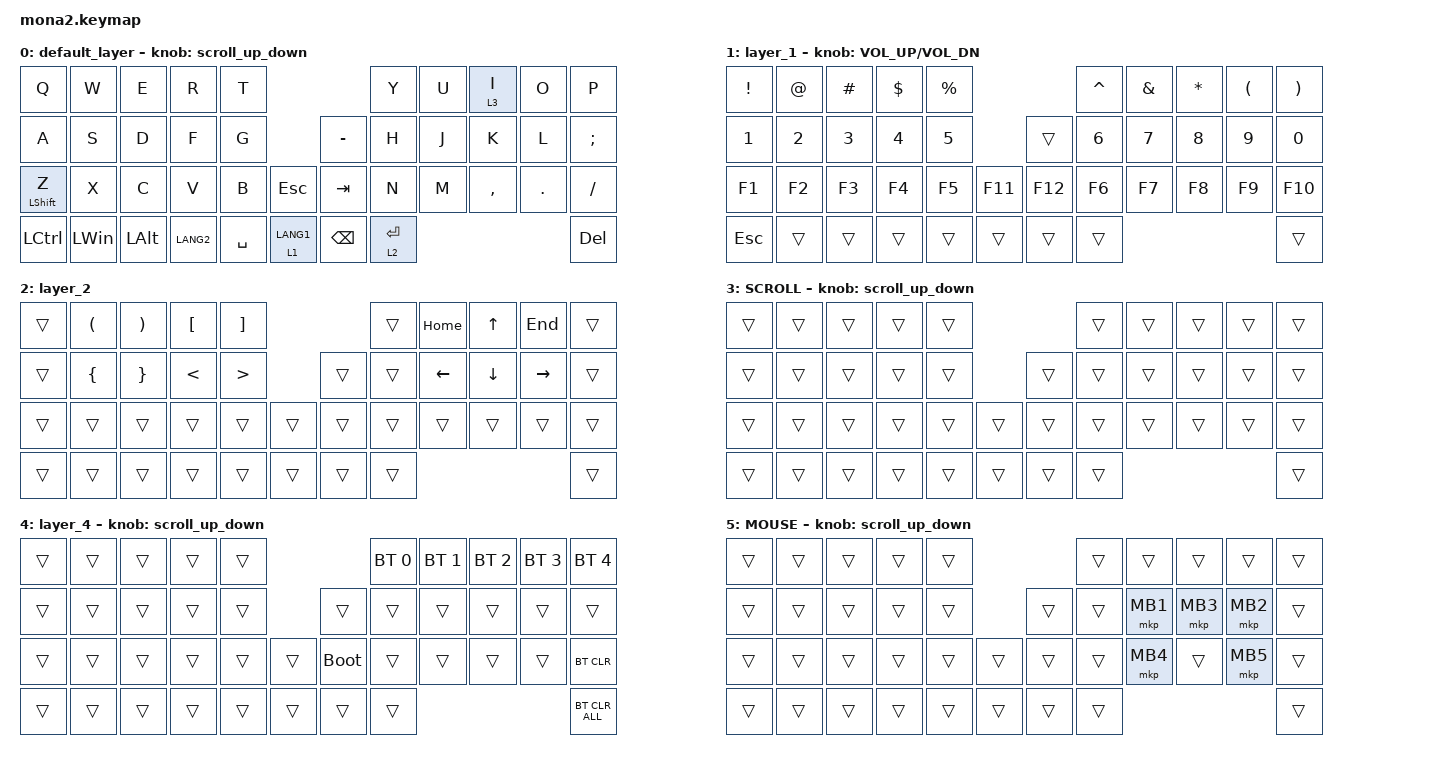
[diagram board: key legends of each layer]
#include <input/processors.dtsi>
#include <dt-bindings/zmk/input_transform.h>
#include <zephyr/dt-bindings/input/input-event-codes.h>
#include <behaviors.dtsi>
#include <dt-bindings/zmk/bt.h>
#include <dt-bindings/zmk/keys.h>
#include <dt-bindings/zmk/pointing.h>

#define ZMK_POINTING_DEFAULT_SCRL_VAL 100
#define MOUSE 5
#define SCROLL 6

&mt {
    flavor = "balanced";
    quick-tap-ms = <0>;
};

&lt {
    quick-tap-ms = <300>;
    flavor = "balanced";
};

/ {
    combos {
        compatible = "zmk,combos";

        layer4_ESC {
            bindings = <&lt 0 ESC>;
            key-positions = <39 38>;
        };

        tab {
            bindings = <&kp TAB>;
            key-positions = <11 12>;
        };
    };

    macros {
        to_layer_0: to_layer_0 {
            compatible = "zmk,behavior-macro-one-param";
            #binding-cells = <1>;
            bindings = <&to 0 &macro_param_1to1 &kp MACRO_PLACEHOLDER>;
            label = "TO_LAYER_0";
        };
    };

    behaviors {
        lt_to_layer_0: lt_to_layer_0 {
            compatible = "zmk,behavior-hold-tap";
            label = "LAYER_TAP_TO_0";
            bindings = <&mo>, <&to_layer_0>;

            #binding-cells = <2>;
            tapping-term-ms = <200>;
        };

        scroll_up_down: mouse_wheel_up_down {
            compatible = "zmk,behavior-sensor-rotate";
            #sensor-binding-cells = <0>;
            bindings = <&msc SCRL_DOWN>, <&msc SCRL_UP>;

            tap-ms = <20>;
        };

        scroll_right_left: mouse_wheel_right_left {
            compatible = "zmk,behavior-sensor-rotate";
            #sensor-binding-cells = <0>;
            bindings = <&msc SCRL_LEFT>, <&msc SCRL_RIGHT>;

            tap-ms = <20>;
        };
    };

    keymap {
        compatible = "zmk,keymap";

        default_layer {
            bindings = <
&kp Q             &kp W         &kp E         &kp R      &kp T                                    &kp Y        &kp U  &lt 3 I    &kp O    &kp P
&kp A             &kp S         &kp D         &kp F      &kp G                     &kp MINUS      &kp H        &kp J  &kp K      &kp L    &kp SEMICOLON
&mt LEFT_SHIFT Z  &kp X         &kp C         &kp V      &kp B      &kp ESCAPE     &kp TAB        &kp N        &kp M  &kp COMMA  &kp DOT  &kp SLASH
&kp LCTRL         &kp LEFT_WIN  &kp LEFT_ALT  &kp LANG2  &kp SPACE  &lt 1 LANG1    &kp BACKSPACE  &lt 2 ENTER                             &kp DEL
            >;

            sensor-bindings = <&scroll_up_down>;
        };

        layer_1 {
            bindings = <
&kp EXCLAMATION  &kp AT_SIGN  &kp HASH  &kp DOLLAR  &kp PERCENT                      &kp CARET  &kp AMPERSAND  &kp ASTERISK  &kp LEFT_PARENTHESIS  &kp RIGHT_PARENTHESIS
&kp N1           &kp N2       &kp N3    &kp N4      &kp N5                  &trans   &kp N6     &kp N7         &kp N8        &kp N9                &kp N0
&kp F1           &kp F2       &kp F3    &kp F4      &kp F5       &kp F11    &kp F12  &kp F6     &kp F7         &kp F8        &kp F9                &kp F10
&kp ESCAPE       &trans       &trans    &trans      &trans       &trans     &trans   &trans                                                        &trans
            >;

            sensor-bindings = <&inc_dec_kp C_VOL_UP C_VOL_DN>;
        };

        layer_2 {
            bindings = <
&trans  &kp LEFT_PARENTHESIS  &kp RIGHT_PARENTHESIS  &kp LEFT_BRACKET  &kp RIGHT_BRACKET                    &trans  &kp HOME  &kp UP    &kp END    &trans
&trans  &kp LEFT_BRACE        &kp RIGHT_BRACE        &kp LESS_THAN     &kp GREATER_THAN             &trans  &trans  &kp LEFT  &kp DOWN  &kp RIGHT  &trans
&trans  &trans                &trans                 &trans            &trans             &trans    &trans  &trans  &trans    &trans    &trans     &trans
&trans  &trans                &trans                 &trans            &trans             &trans    &trans  &trans                                 &trans
            >;
        };

        SCROLL {
            bindings = <
&trans  &trans  &trans  &trans  &trans                    &trans  &trans  &trans  &trans  &trans
&trans  &trans  &trans  &trans  &trans            &trans  &trans  &trans  &trans  &trans  &trans
&trans  &trans  &trans  &trans  &trans  &trans    &trans  &trans  &trans  &trans  &trans  &trans
&trans  &trans  &trans  &trans  &trans  &trans    &trans  &trans                          &trans
            >;

            sensor-bindings = <&scroll_up_down>;
        };

        layer_4 {
            bindings = <
&trans  &trans  &trans  &trans  &trans                         &bt BT_SEL 0  &bt BT_SEL 1  &bt BT_SEL 2  &bt BT_SEL 3  &bt BT_SEL 4
&trans  &trans  &trans  &trans  &trans            &trans       &trans        &trans        &trans        &trans        &trans
&trans  &trans  &trans  &trans  &trans  &trans    &bootloader  &trans        &trans        &trans        &trans        &bt BT_CLR
&trans  &trans  &trans  &trans  &trans  &trans    &trans       &trans                                                  &bt BT_CLR_ALL
            >;

            sensor-bindings = <&scroll_up_down>;
        };

        MOUSE {
            bindings = <
&trans  &trans  &trans  &trans  &trans                    &trans  &trans    &trans    &trans    &trans
&trans  &trans  &trans  &trans  &trans            &trans  &trans  &mkp MB1  &mkp MB3  &mkp MB2  &trans
&trans  &trans  &trans  &trans  &trans  &trans    &trans  &trans  &mkp MB4  &trans    &mkp MB5  &trans
&trans  &trans  &trans  &trans  &trans  &trans    &trans  &trans                                &trans
            >;

            sensor-bindings = <&scroll_up_down>;
        };
    };
};
